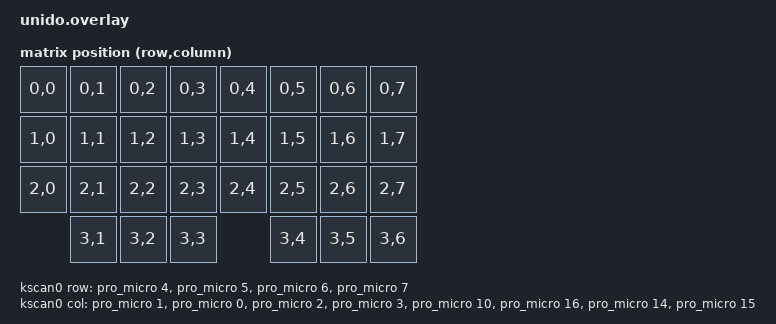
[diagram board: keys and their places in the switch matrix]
/* boards/shields/unido/unido.overlay — teclado unido 30 teclas, matriz ÚNICA 4 linhas x 8 colunas, 1 ProMicro nRF52840
   Linhas compartilhadas pelas duas mãos. Colunas na ordem física, da esquerda para a direita:
     mão esquerda C0..C3 (de fora p/ dentro) | mão direita C4..C7 (de dentro p/ fora)
   Polegares (linha R3), da esquerda para a direita: C1 C2 C3 | C4 C5 C6
   Pinos livres: 104 106 115 031 029 002 (031/029/002 são analógicos)
   009 e 010 são pinos de NFC: exigem CONFIG_NFCT_PINS_AS_GPIOS=y (em unido.conf) */
#include <dt-bindings/zmk/matrix_transform.h>

/ {
    chosen {
        zmk,kscan = &kscan0;
        zmk,matrix-transform = &default_transform;
    };

    default_transform: keymap_transform_0 {
        compatible = "zmk,matrix-transform";
        columns = <8>;
        rows = <4>;
        map = <
            RC(0,0) RC(0,1) RC(0,2) RC(0,3) RC(0,4) RC(0,5) RC(0,6) RC(0,7)
            RC(1,0) RC(1,1) RC(1,2) RC(1,3) RC(1,4) RC(1,5) RC(1,6) RC(1,7)
            RC(2,0) RC(2,1) RC(2,2) RC(2,3) RC(2,4) RC(2,5) RC(2,6) RC(2,7)
                        RC(3,1) RC(3,2) RC(3,3)   RC(3,4) RC(3,5) RC(3,6)
        >;
    };

    kscan0: kscan {
        compatible = "zmk,kscan-gpio-matrix";
        diode-direction = "col2row";
        wakeup-source;
        row-gpios
            = <&pro_micro 4 (GPIO_ACTIVE_HIGH | GPIO_PULL_DOWN)>   /* 022 R0 */
            , <&pro_micro 5 (GPIO_ACTIVE_HIGH | GPIO_PULL_DOWN)>   /* 024 R1 */
            , <&pro_micro 6 (GPIO_ACTIVE_HIGH | GPIO_PULL_DOWN)>   /* 100 R2 */
            , <&pro_micro 7 (GPIO_ACTIVE_HIGH | GPIO_PULL_DOWN)>   /* 011 R3 (polegares) */
            ;
        col-gpios
            = <&pro_micro 1 GPIO_ACTIVE_HIGH>    /* 006 C0 esq. mindinho */
            , <&pro_micro 0 GPIO_ACTIVE_HIGH>    /* 008 C1 esq. anelar */
            , <&pro_micro 2 GPIO_ACTIVE_HIGH>    /* 017 C2 esq. médio */
            , <&pro_micro 3 GPIO_ACTIVE_HIGH>    /* 020 C3 esq. indicador */
            , <&pro_micro 10 GPIO_ACTIVE_HIGH>   /* 009 C4 dir. indicador */
            , <&pro_micro 16 GPIO_ACTIVE_HIGH>   /* 010 C5 dir. médio */
            , <&pro_micro 14 GPIO_ACTIVE_HIGH>   /* 111 C6 dir. anelar */
            , <&pro_micro 15 GPIO_ACTIVE_HIGH>   /* 113 C7 dir. mindinho */
            ;
    };
};
